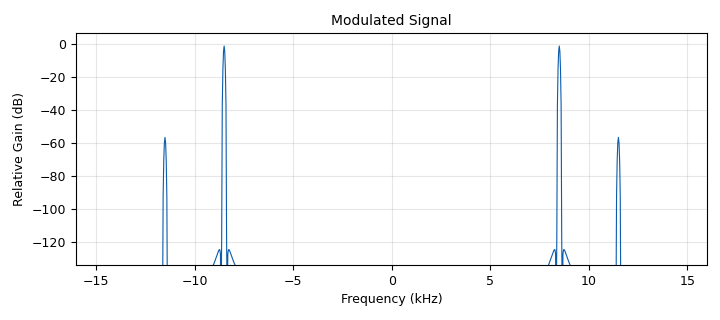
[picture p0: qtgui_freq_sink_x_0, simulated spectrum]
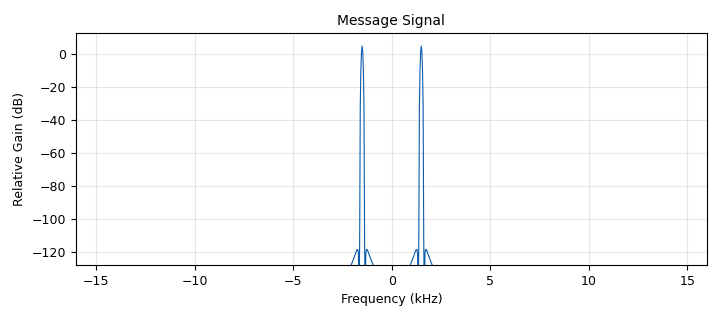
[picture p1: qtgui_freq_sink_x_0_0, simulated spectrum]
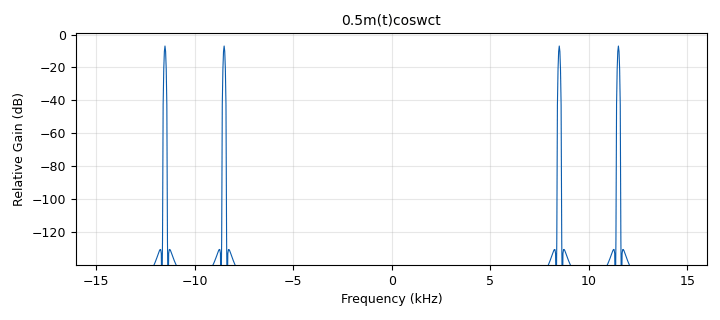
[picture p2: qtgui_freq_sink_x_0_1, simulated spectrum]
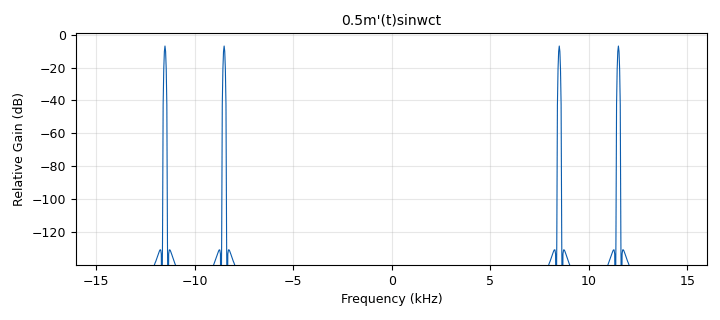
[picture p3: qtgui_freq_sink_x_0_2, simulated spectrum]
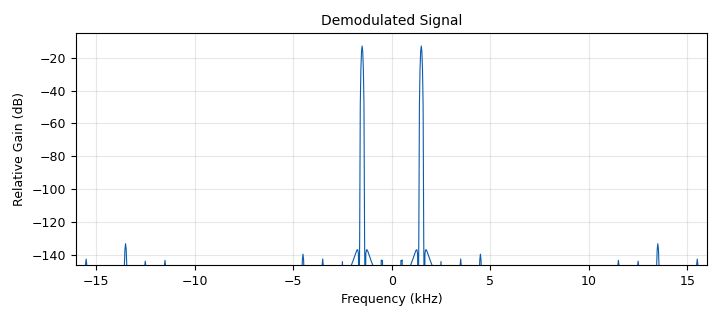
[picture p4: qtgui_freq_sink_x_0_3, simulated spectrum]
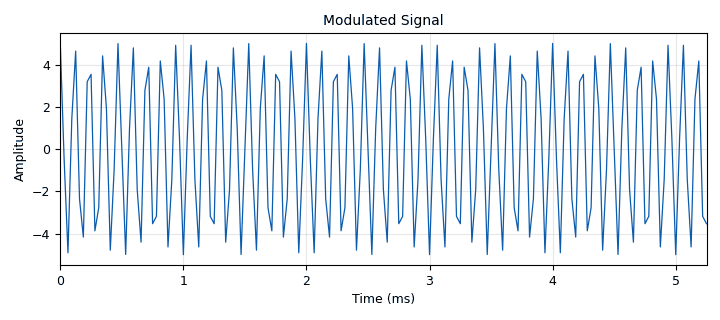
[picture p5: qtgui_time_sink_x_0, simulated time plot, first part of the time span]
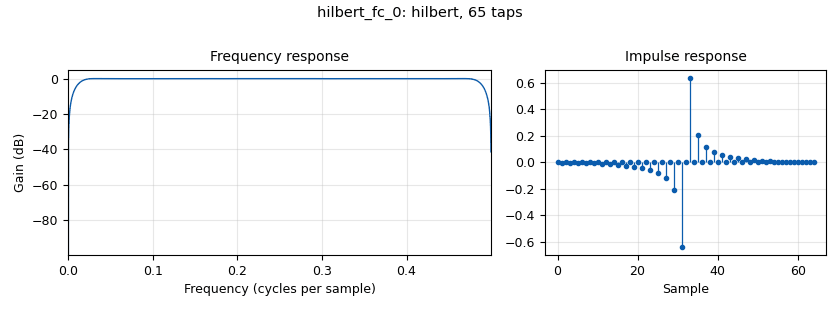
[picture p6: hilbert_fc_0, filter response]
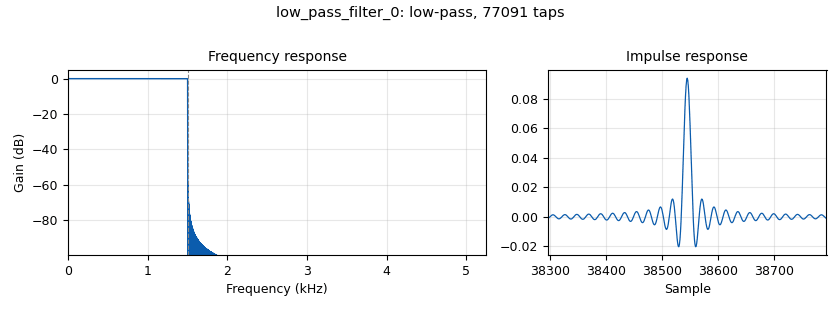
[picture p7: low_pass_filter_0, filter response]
options:
  parameters:
    author: shashank
    generate_options: qt_gui
    id: ssb_sc_phase_discrimination
    output_language: python
    title: ssb_sc_phase_discrimination
  states: {}

blocks:
- name: carrier_amplitude
  id: variable
  parameters:
    value: msg_amplitude/mu
  states: {}
- name: msg_amplitude
  id: variable
  parameters:
    value: '10'
  states: {}
- name: mu
  id: variable
  parameters:
    value: '10'
  states: {}
- name: samp_rate
  id: variable
  parameters:
    value: '32000'
  states: {}
- name: analog_sig_source_x_0
  id: analog_sig_source_x
  parameters:
    alias: message_signal
    amp: msg_amplitude
    freq: '1500'
    offset: '0'
    phase: '0'
    samp_rate: samp_rate
    type: float
    waveform: analog.GR_COS_WAVE
  states: {}
- name: analog_sig_source_x_1
  id: analog_sig_source_x
  parameters:
    alias: carrier_signal
    amp: carrier_amplitude
    freq: '10000'
    offset: '0'
    phase: '0'
    samp_rate: samp_rate
    type: float
    waveform: analog.GR_COS_WAVE
  states: {}
- name: analog_sig_source_x_1_0
  id: analog_sig_source_x
  parameters:
    amp: carrier_amplitude
    freq: '10000'
    offset: '0'
    phase: '0'
    samp_rate: samp_rate
    type: float
    waveform: analog.GR_COS_WAVE
  states: {}
- name: blocks_add_xx_0
  id: blocks_add_xx
  parameters:
    type: float
  states: {}
- name: blocks_complex_to_float_0
  id: blocks_complex_to_float
  parameters: {}
  states: {}
- name: blocks_complex_to_float_0_0
  id: blocks_complex_to_float
  parameters: {}
  states: {}
- name: blocks_multiply_const_vxx_0
  id: blocks_multiply_const_vxx
  parameters:
    const: '0.5'
    type: float
  states: {}
- name: blocks_multiply_const_vxx_0_0
  id: blocks_multiply_const_vxx
  parameters:
    const: '0.5'
    type: float
  states: {}
- name: blocks_multiply_const_vxx_1
  id: blocks_multiply_const_vxx
  parameters:
    const: '-1'
    type: float
  states: {state: disabled}
- name: blocks_multiply_const_vxx_1_0
  id: blocks_multiply_const_vxx
  parameters:
    const: '-1'
    type: float
  states: {}
- name: blocks_multiply_xx_0
  id: blocks_multiply_xx
  parameters:
    type: float
  states: {}
- name: blocks_multiply_xx_0_0
  id: blocks_multiply_xx
  parameters:
    type: float
  states: {}
- name: blocks_multiply_xx_1
  id: blocks_multiply_xx
  parameters:
    type: float
  states: {}
- name: blocks_null_sink_0
  id: blocks_null_sink
  parameters:
    type: float
  states: {}
- name: blocks_null_sink_0_0
  id: blocks_null_sink
  parameters:
    type: float
  states: {}
- name: blocks_throttle_0
  id: blocks_throttle
  parameters:
    samples_per_second: samp_rate
    type: float
  states: {}
- name: hilbert_fc_0
  id: hilbert_fc
  parameters:
    num_taps: '65'
    win: firdes.WIN_HAMMING
  states: {}
- name: hilbert_fc_1
  id: hilbert_fc
  parameters:
    num_taps: '65'
    win: firdes.WIN_HAMMING
  states: {}
- name: low_pass_filter_0
  id: low_pass_filter
  parameters:
    cutoff_freq: '1500'
    decim: '1'
    gain: '1'
    samp_rate: samp_rate
    type: fir_filter_fff
    width: '1'
    win: firdes.WIN_HAMMING
  states: {}
- name: note_0
  id: note
  parameters:
    note: SSB-SC Transmitter
  states: {}
- name: note_1
  id: note
  parameters:
    note: SSB-SC Receiver
  states: {}
- name: qtgui_freq_sink_x_0
  id: qtgui_freq_sink_x
  parameters:
    autoscale: 'True'
    bw: samp_rate
    ctrlpanel: 'True'
    fc: '0'
    fftsize: '1024'
    grid: 'True'
    name: '"Modulated Signal"'
    type: float
    wintype: firdes.WIN_BLACKMAN_hARRIS
  states: {}
- name: qtgui_freq_sink_x_0_0
  id: qtgui_freq_sink_x
  parameters:
    autoscale: 'True'
    bw: samp_rate
    ctrlpanel: 'True'
    fc: '0'
    fftsize: '1024'
    grid: 'True'
    name: '"Message Signal"'
    type: float
    wintype: firdes.WIN_BLACKMAN_hARRIS
  states: {}
- name: qtgui_freq_sink_x_0_1
  id: qtgui_freq_sink_x
  parameters:
    autoscale: 'True'
    bw: samp_rate
    ctrlpanel: 'True'
    fc: '0'
    fftsize: '1024'
    grid: 'True'
    name: '"0.5m(t)coswct"'
    type: float
    wintype: firdes.WIN_BLACKMAN_hARRIS
  states: {}
- name: qtgui_freq_sink_x_0_2
  id: qtgui_freq_sink_x
  parameters:
    autoscale: 'True'
    bw: samp_rate
    ctrlpanel: 'True'
    fc: '0'
    fftsize: '1024'
    grid: 'True'
    name: '"0.5m''(t)sinwct"'
    type: float
    wintype: firdes.WIN_BLACKMAN_hARRIS
  states: {}
- name: qtgui_freq_sink_x_0_3
  id: qtgui_freq_sink_x
  parameters:
    autoscale: 'True'
    bw: samp_rate
    ctrlpanel: 'True'
    fc: '0'
    fftsize: '1024'
    grid: 'True'
    name: '"Demodulated Signal"'
    type: float
    wintype: firdes.WIN_BLACKMAN_hARRIS
  states: {}
- name: qtgui_time_sink_x_0
  id: qtgui_time_sink_x
  parameters:
    autoscale: 'True'
    ctrlpanel: 'True'
    grid: 'True'
    name: '"Modulated Signal"'
    size: '1024'
    srate: samp_rate
    type: float
  states: {}
- name: qtgui_time_sink_x_0_0
  id: qtgui_time_sink_x
  parameters:
    autoscale: 'True'
    ctrlpanel: 'True'
    grid: 'True'
    name: '"Message Signal"'
    size: '1024'
    srate: samp_rate
    type: float
  states: {}
- name: qtgui_time_sink_x_0_1
  id: qtgui_time_sink_x
  parameters:
    autoscale: 'True'
    ctrlpanel: 'True'
    grid: 'True'
    name: '"0.5m(t)coswct"'
    size: '1024'
    srate: samp_rate
    type: float
  states: {}
- name: qtgui_time_sink_x_0_2
  id: qtgui_time_sink_x
  parameters:
    autoscale: 'True'
    ctrlpanel: 'True'
    grid: 'True'
    name: '"0.5m''(t)sinwct"'
    size: '1024'
    srate: samp_rate
    type: float
  states: {}
- name: qtgui_time_sink_x_0_3
  id: qtgui_time_sink_x
  parameters:
    autoscale: 'True'
    ctrlpanel: 'True'
    grid: 'True'
    name: '"Carrier Signal"'
    size: '1024'
    srate: samp_rate
    type: float
  states: {}
- name: qtgui_time_sink_x_0_4
  id: qtgui_time_sink_x
  parameters:
    autoscale: 'True'
    ctrlpanel: 'True'
    grid: 'True'
    name: '"Demodulated Signal"'
    size: '1024'
    srate: samp_rate
    type: float
  states: {}

connections:
- [analog_sig_source_x_0, '0', blocks_multiply_xx_0, '0']
- [analog_sig_source_x_0, '0', hilbert_fc_1, '0']
- [analog_sig_source_x_0, '0', qtgui_freq_sink_x_0_0, '0']
- [analog_sig_source_x_0, '0', qtgui_time_sink_x_0_0, '0']
- [analog_sig_source_x_1, '0', blocks_multiply_const_vxx_0, '0']
- [analog_sig_source_x_1, '0', blocks_multiply_const_vxx_0_0, '0']
- [analog_sig_source_x_1, '0', qtgui_time_sink_x_0_3, '0']
- [analog_sig_source_x_1_0, '0', blocks_multiply_xx_1, '1']
- [blocks_add_xx_0, '0', blocks_throttle_0, '0']
- [blocks_complex_to_float_0, '0', blocks_null_sink_0_0, '0']
- [blocks_complex_to_float_0, '1', blocks_multiply_xx_0_0, '0']
- [blocks_complex_to_float_0_0, '0', blocks_null_sink_0, '0']
- [blocks_complex_to_float_0_0, '1', blocks_multiply_const_vxx_1_0, '0']
- [blocks_multiply_const_vxx_0, '0', blocks_multiply_xx_0, '1']
- [blocks_multiply_const_vxx_0_0, '0', hilbert_fc_0, '0']
- [blocks_multiply_const_vxx_1, '0', blocks_add_xx_0, '1']
- [blocks_multiply_const_vxx_1_0, '0', blocks_multiply_xx_0_0, '1']
- [blocks_multiply_xx_0, '0', blocks_add_xx_0, '0']
- [blocks_multiply_xx_0, '0', qtgui_freq_sink_x_0_1, '0']
- [blocks_multiply_xx_0, '0', qtgui_time_sink_x_0_1, '0']
- [blocks_multiply_xx_0_0, '0', blocks_add_xx_0, '1']
- [blocks_multiply_xx_0_0, '0', blocks_multiply_const_vxx_1, '0']
- [blocks_multiply_xx_0_0, '0', qtgui_freq_sink_x_0_2, '0']
- [blocks_multiply_xx_0_0, '0', qtgui_time_sink_x_0_2, '0']
- [blocks_multiply_xx_1, '0', low_pass_filter_0, '0']
- [blocks_throttle_0, '0', blocks_multiply_xx_1, '0']
- [blocks_throttle_0, '0', qtgui_freq_sink_x_0, '0']
- [blocks_throttle_0, '0', qtgui_time_sink_x_0, '0']
- [hilbert_fc_0, '0', blocks_complex_to_float_0, '0']
- [hilbert_fc_1, '0', blocks_complex_to_float_0_0, '0']
- [low_pass_filter_0, '0', qtgui_freq_sink_x_0_3, '0']
- [low_pass_filter_0, '0', qtgui_time_sink_x_0_4, '0']

metadata:
  file_format: 1
